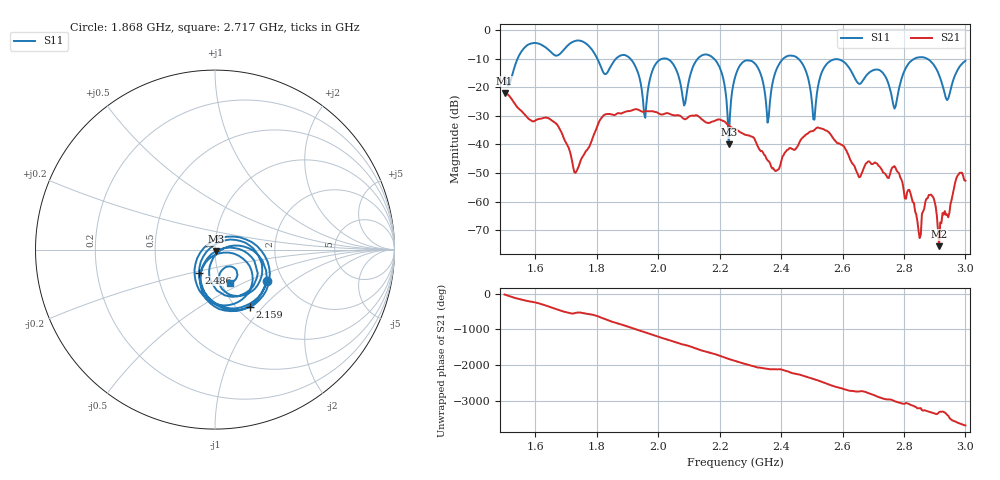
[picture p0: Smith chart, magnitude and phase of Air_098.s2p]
# HZ S RI R 50
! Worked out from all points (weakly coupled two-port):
!   404 points, 1.5 GHz to 3 GHz, reference 50 ohm
!   highest |S21| = -21.96 dB at 1.5 GHz (marker M1); lowest = -75.6 dB at 2.914 GHz (marker M2)
!   lowest |S11| = -39.9 dB at 2.23 GHz (marker M3), VSWR 1.02, Z = 50.5 - j0.901 ohm
!   |S11| at or under -10 dB: 2.182 GHz to 2.407 GHz (225.2 MHz wide, 9.81 % of centre); 2.456 GHz to 2.834 GHz (378.1 MHz wide, 14.3 % of centre); 2.875 GHz to end of sweep (the widest 3 of 7)
!   S12 and S22 are empty: the file has one direction only
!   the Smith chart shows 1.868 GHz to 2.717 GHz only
!   S11 on the Smith chart (normalised r, x): 1.868 GHz: 1.65, -0.65; 2.159 GHz: 1.14, -0.85; 2.486 GHz: 0.81, -0.21; 2.717 GHz: 1.09, -0.42
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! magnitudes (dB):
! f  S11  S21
! 1.5 GHz  -16.4  -22.0
! 1.753 GHz  -3.9  -44.5
! 1.868 GHz  -9.4  -29.1
! 1.958 GHz  -30.6  -28.3
! 2.002 GHz  -10.6  -29.2
! 2.084 GHz  -26.4  -31.1
! 2.159 GHz  -8.5  -32.4
! 2.23 GHz  -39.9  -33.3
! 2.252 GHz  -15.9  -34.8
! 2.311 GHz  -11.3  -37.7
! 2.356 GHz  -32.4  -45.6
! 2.386 GHz  -13.5  -49.1
! 2.486 GHz  -16.2  -36.2
! 2.501 GHz  -26.0  -35.3
! 2.565 GHz  -10.5  -37.0
! 2.717 GHz  -13.9  -47.4
! 2.751 GHz  -19.1  -51.7
! 2.847 GHz  -9.5  -70.2
! 2.888 GHz  -11.0  -57.6
! 2.914 GHz  -15.7  -75.6
! 2.94 GHz  -24.5  -64.5
! 3 GHz  -10.7  -52.7
